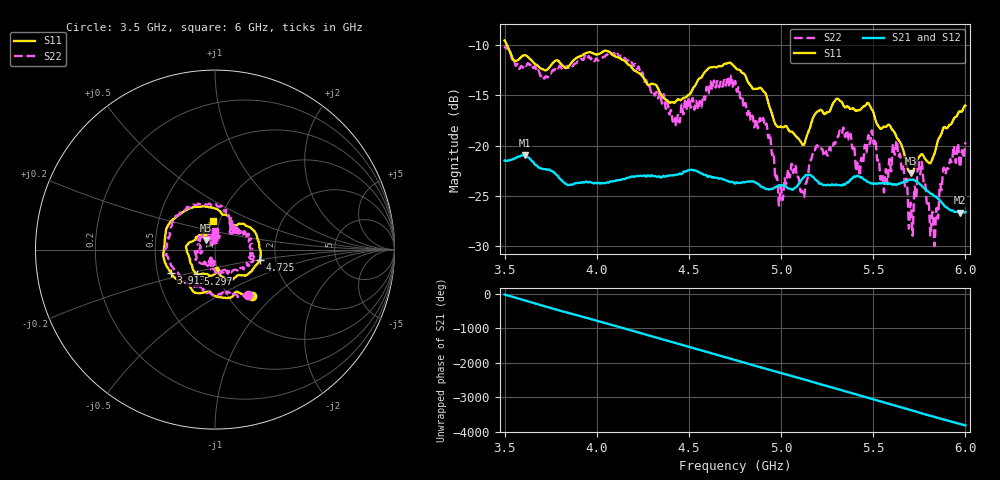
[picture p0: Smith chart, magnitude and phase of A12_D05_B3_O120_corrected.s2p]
! Created with skrf 1.9.0 (http://scikit-rf.org).
# Hz S RI R 50.0
!freq ReS11 ImS11 ReS21 ImS21 ReS12 ImS12 ReS22 ImS22
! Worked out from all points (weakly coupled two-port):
!   1601 points, 3.5 GHz to 6 GHz, reference 50 ohm
!   highest |S21| = -20.97 dB at 3.609 GHz (marker M1); lowest = -26.7 dB at 5.97 GHz (marker M2)
!   lowest |S11| = -22.7 dB at 5.706 GHz (marker M3), VSWR 1.16, Z = 45.1 + j4.92 ohm
!   |S11| at or under -10 dB: 3.512 GHz to end of sweep
!   |S22| runs from -30.0 to -10.1 dB; largest |S21 - S12| = 0.001
!   S11 on the Smith chart (normalised r, x): 3.5 GHz: 1.28, -0.75; 3.913 GHz: 0.59, -0.17; 4.725 GHz: 1.66, -0.20; 5.297 GHz: 0.79, -0.22; 6 GHz: 0.94, +0.30
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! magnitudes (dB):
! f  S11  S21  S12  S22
! 3.5 GHz  -9.6  -21.5  -21.5  -10.2
! 3.609 GHz  -11.0  -21.0  -21.0  -12.0
! 3.913 GHz  -11.1  -23.7  -23.7  -11.4
! 3.917 GHz  -11.1  -23.7  -23.7  -11.4
! 4.334 GHz  -14.4  -23.1  -23.0  -15.3
! 4.439 GHz  -15.4  -22.9  -22.9  -17.0
! 4.725 GHz  -11.8  -23.6  -23.6  -13.8
! 4.75 GHz  -12.2  -23.8  -23.7  -13.6
! 4.912 GHz  -14.7  -24.3  -24.2  -18.1
! 4.997 GHz  -18.1  -23.9  -23.9  -24.2
! 5.067 GHz  -18.8  -24.3  -24.3  -22.7
! 5.119 GHz  -20.0  -23.2  -23.2  -24.8
! 5.167 GHz  -17.6  -23.1  -23.0  -21.2
! 5.297 GHz  -15.5  -23.9  -23.8  -19.5
! 5.5 GHz  -16.7  -23.8  -23.8  -19.6
! 5.584 GHz  -17.9  -23.8  -23.8  -21.9
! 5.634 GHz  -19.4  -23.8  -23.8  -20.8
! 5.706 GHz  -22.7  -23.4  -23.4  -26.2
! 5.753 GHz  -21.0  -23.8  -23.8  -22.7
! 5.822 GHz  -21.3  -24.8  -24.8  -26.6
! 5.97 GHz  -16.6  -26.7  -26.6  -22.2
! 6 GHz  -16.0  -26.6  -26.6  -19.7
